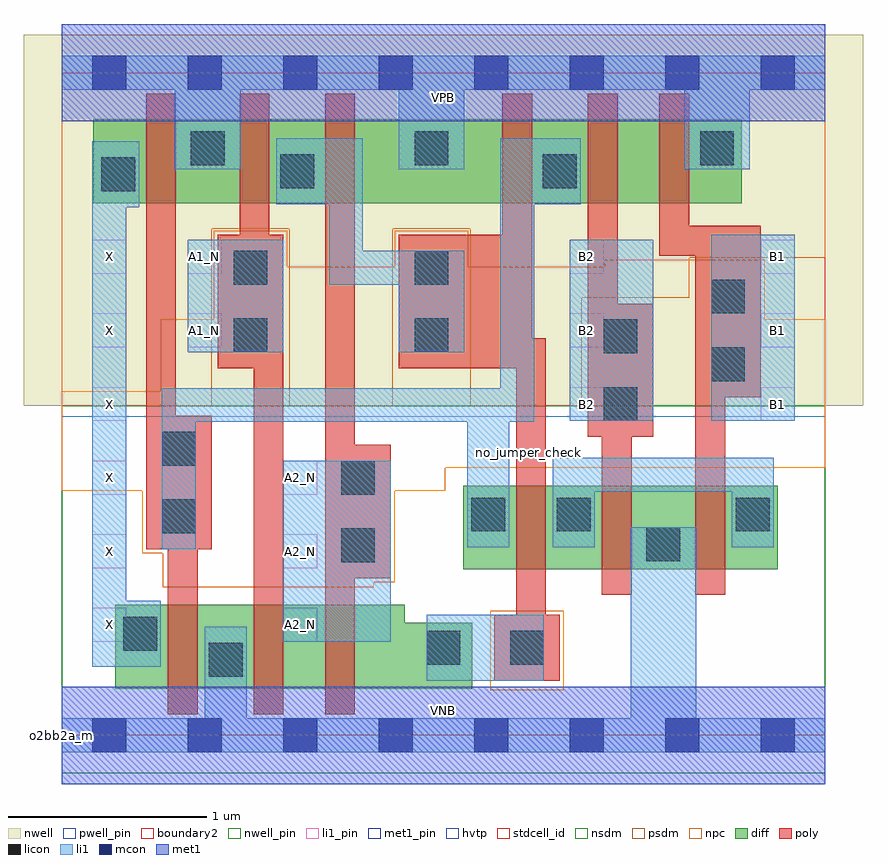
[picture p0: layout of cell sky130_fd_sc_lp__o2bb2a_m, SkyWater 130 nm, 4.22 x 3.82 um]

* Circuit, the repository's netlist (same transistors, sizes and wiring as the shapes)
* Copyright 2020 The SkyWater PDK Authors
*
* Licensed under the Apache License, Version 2.0 (the "License");
* you may not use this file except in compliance with the License.
* You may obtain a copy of the License at
*
*     https://www.apache.org/licenses/LICENSE-2.0
*
* Unless required by applicable law or agreed to in writing, software
* distributed under the License is distributed on an "AS IS" BASIS,
* WITHOUT WARRANTIES OR CONDITIONS OF ANY KIND, either express or implied.
* See the License for the specific language governing permissions and
* limitations under the License.
*
* SPDX-License-Identifier: Apache-2.0

.SUBCKT sky130_fd_sc_lp__o2bb2a_m A1_N A2_N B1 B2 VGND VNB VPB VPWR X
*.PININFO A1_N:I A2_N:I B1:I B2:I VGND:I VNB:I VPB:I VPWR:I X:O
MMIN2 X y VGND VNB sky130_fd_pr__nfet_01v8 m=1 w=0.42U l=0.15U mult=1 sa=0.265
+ sb=0.265 sd=0.28 area=0.063 perim=1.14
MMNnand0 VGND A1_N sndNA1N VNB sky130_fd_pr__nfet_01v8 m=1 w=0.42U l=0.15U mult=1
+ sa=0.265 sb=0.265 sd=0.28 area=0.063 perim=1.14
MMNnand1 sndNA1N A2_N inand VNB sky130_fd_pr__nfet_01v8 m=1 w=0.42U l=0.15U mult=1
+ sa=0.265 sb=0.265 sd=0.28 area=0.063 perim=1.14
MMNaoi10 nmid B1 VGND VNB sky130_fd_pr__nfet_01v8 m=1 w=0.42U l=0.15U mult=1 sa=0.265
+ sb=0.265 sd=0.28 area=0.063 perim=1.14
MMNaoi11 nmid B2 VGND VNB sky130_fd_pr__nfet_01v8 m=1 w=0.42U l=0.15U mult=1 sa=0.265
+ sb=0.265 sd=0.28 area=0.063 perim=1.14
MMNaoi20 y inand nmid VNB sky130_fd_pr__nfet_01v8 m=1 w=0.42U l=0.15U mult=1 sa=0.265
+ sb=0.265 sd=0.28 area=0.063 perim=1.14
MMIP2 X y VPWR VPB sky130_fd_pr__pfet_01v8_hvt m=1 w=0.42U l=0.15U mult=1 sa=0.265
+ sb=0.265 sd=0.28 area=0.063 perim=1.14
MMPnand0 inand A1_N VPWR VPB sky130_fd_pr__pfet_01v8_hvt m=1 w=0.42U l=0.15U mult=1
+ sa=0.265 sb=0.265 sd=0.28 area=0.063 perim=1.14
MMPnand1 inand A2_N VPWR VPB sky130_fd_pr__pfet_01v8_hvt m=1 w=0.42U l=0.15U mult=1
+ sa=0.265 sb=0.265 sd=0.28 area=0.063 perim=1.14
MMPaoi10 VPWR B1 sndPB1 VPB sky130_fd_pr__pfet_01v8_hvt m=1 w=0.42U l=0.15U mult=1
+ sa=0.265 sb=0.265 sd=0.28 area=0.063 perim=1.14
MMPaoi11 sndPB1 B2 y VPB sky130_fd_pr__pfet_01v8_hvt m=1 w=0.42U l=0.15U mult=1
+ sa=0.265 sb=0.265 sd=0.28 area=0.063 perim=1.14
MMPaoi20 y inand VPWR VPB sky130_fd_pr__pfet_01v8_hvt m=1 w=0.42U l=0.15U mult=1
+ sa=0.265 sb=0.265 sd=0.28 area=0.063 perim=1.14
.ENDS sky130_fd_sc_lp__o2bb2a_m

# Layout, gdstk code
import gdstk
lib = gdstk.Library(unit=1e-6, precision=1e-09)
def R(c, l, rs):  # rectangles x0, y0, x1, y1
    for r in rs: c.add(gdstk.rectangle(r[:2], r[2:], *l))
def A(c, l, x, y, w, h, nx, ny, dx, dy):  # array of equal rectangles
    R(c, l, [(x+i*dx, y+j*dy, x+i*dx+w, y+j*dy+h) for i in range(nx) for j in range(ny)])
def P(c, l, *ps):  # polygons
    for p in ps: c.add(gdstk.Polygon(p, *l))
nwell_pin = (64, 16)
nwell = (64, 20)
diff = (65, 20)
poly = (66, 20)
licon = (66, 44)
li1_pin = (67, 16)
li1 = (67, 20)
mcon = (67, 44)
met1_pin = (68, 16)
met1 = (68, 20)
hvtp = (78, 44)
stdcell_id = (81, 4)
nsdm = (93, 44)
psdm = (94, 20)
npc = (95, 20)
pwell_pin = (122, 16)
boundary2 = (236, 0)

sky130_fd_sc_lp__o2bb2a_ = lib.new_cell('sky130_fd_sc_lp__o2bb2a_m')
R(sky130_fd_sc_lp__o2bb2a_, nwell_pin, [(0,3.085,3.84,3.33)])
R(sky130_fd_sc_lp__o2bb2a_, nwell, [(-0.19,1.655,4.03,3.52)])
R(sky130_fd_sc_lp__o2bb2a_, diff, [(2.02,0.835,3.6,1.255), (0.16,2.675,3.42,3.095)])
P(sky130_fd_sc_lp__o2bb2a_, diff, [(2.065,0.565),(1.725,0.565),(1.725,0.655),(0.27,0.655),(0.27,0.235),(2.065,0.235)])
P(sky130_fd_sc_lp__o2bb2a_, poly, [(0.755,1.605),(0.575,1.605),(0.575,3.225),(0.425,3.225),(0.425,0.935),(0.535,0.935),(0.535,0.105),(0.685,0.105),(0.685,0.935),(0.755,0.935)],
  [(1.115,2.515),(1.045,2.515),(1.045,3.225),(0.895,3.225),(0.895,2.515),(0.785,2.515),(0.785,1.845),(0.965,1.845),(0.965,0.105),(1.115,0.105)],
  [(1.655,1.46),(1.475,1.46),(1.475,3.225),(1.325,3.225),(1.325,0.105),(1.475,0.105),(1.475,0.79),(1.655,0.79)],
  [(2.505,0.605),(2.435,0.605),(2.435,1.995),(2.365,1.995),(2.365,3.225),(2.215,3.225),(2.215,2.515),(1.695,2.515),(1.695,1.845),(2.285,1.845),(2.285,0.605),(2.175,0.605),(2.175,0.275),(2.505,0.275)],
  [(2.975,2.17),(2.795,2.17),(2.795,3.225),(2.645,3.225),(2.645,1.5),(2.715,1.5),(2.715,0.705),(2.865,0.705),(2.865,1.5),(2.975,1.5)],
  [(3.515,2.56),(3.155,2.56),(3.155,3.225),(3.005,3.225),(3.005,2.41),(3.185,2.41),(3.185,0.705),(3.335,0.705),(3.335,1.7),(3.515,1.7)])
R(sky130_fd_sc_lp__o2bb2a_, licon, [(0.74,0.295,0.91,0.465), (1.835,0.355,2.005,0.525), (2.255,0.355,2.425,0.525), (0.31,0.425,0.48,0.595), (1.405,0.87,1.575,1.04), (2.94,0.875,3.11,1.045), (0.505,1.015,0.675,1.185), (2.06,1.025,2.23,1.195), (2.49,1.025,2.66,1.195), (3.39,1.025,3.56,1.195), (1.405,1.21,1.575,1.38), (0.505,1.355,0.675,1.525), (2.725,1.58,2.895,1.75), (3.265,1.78,3.435,1.95), (2.725,1.92,2.895,2.09), (0.865,1.925,1.035,2.095), (1.775,1.925,1.945,2.095), (3.265,2.12,3.435,2.29), (0.865,2.265,1.035,2.435), (1.775,2.265,1.945,2.435), (0.2,2.735,0.37,2.905), (1.1,2.75,1.27,2.92), (2.42,2.75,2.59,2.92), (0.65,2.865,0.82,3.035), (1.775,2.865,1.945,3.035), (3.21,2.865,3.38,3.035)])
A(sky130_fd_sc_lp__o2bb2a_, li1_pin, 0.155, 0.47, 0.17, 0.17, 1, 6, 0, 0.37)
A(sky130_fd_sc_lp__o2bb2a_, li1_pin, 1.115, 0.47, 0.17, 0.17, 1, 3, 0, 0.37)
A(sky130_fd_sc_lp__o2bb2a_, li1_pin, 2.555, 1.58, 0.17, 0.17, 1, 3, 0, 0.37)
A(sky130_fd_sc_lp__o2bb2a_, li1_pin, 3.515, 1.58, 0.17, 0.17, 1, 3, 0, 0.37)
R(sky130_fd_sc_lp__o2bb2a_, li1_pin, [(0.635,1.95,0.805,2.12), (0.635,2.32,0.805,2.49)])
R(sky130_fd_sc_lp__o2bb2a_, li1, [(1.835,0.275,2.425,0.605), (1.115,0.47,1.655,1.38), (2.555,1.58,2.975,2.49), (3.265,1.58,3.685,2.515), (0.635,1.925,1.115,2.49)])
P(sky130_fd_sc_lp__o2bb2a_, li1, [(3.13,2.845),(3.13,3.245),(2.025,3.245),(2.025,2.845),(1.695,2.845),(1.695,3.245),(0.9,3.245),(0.9,2.845),(0.57,2.845),(0.57,3.245),(0,3.245),(0,3.415),(3.84,3.415),(3.84,3.245),(3.46,3.245),(3.46,2.845)],
  [(2.86,0.085),(2.86,1.045),(3.19,1.045),(3.19,0.085),(3.84,0.085),(3.84,-0.085),(0,-0.085),(0,0.085),(0.72,0.085),(0.72,0.545),(0.93,0.545),(0.93,0.085)],
  [(0.505,0.935),(0.505,1.745),(2.205,1.745),(2.205,3),(2.61,3),(2.61,2.67),(2.375,2.67),(2.375,1.575),(2.25,1.575),(2.25,0.945),(2.04,0.945),(2.04,1.575),(0.675,1.575),(0.675,0.935)],
  [(1.08,2.67),(1.08,3),(1.515,3),(1.515,2.435),(2.025,2.435),(2.025,1.925),(1.695,1.925),(1.695,2.265),(1.345,2.265),(1.345,2.67)],
  [(0.325,2.655),(0.325,0.675),(0.5,0.675),(0.5,0.345),(0.155,0.345),(0.155,2.985),(0.39,2.985),(0.39,2.655)],
  [(3.37,1.225),(2.68,1.225),(2.68,0.945),(2.47,0.945),(2.47,1.395),(3.58,1.395),(3.58,0.945),(3.37,0.945)])
A(sky130_fd_sc_lp__o2bb2a_, mcon, 0.155, -0.085, 0.17, 0.17, 8, 2, 0.48, 3.33)
R(sky130_fd_sc_lp__o2bb2a_, met1_pin, [(0,0,3.84,0.245), (0,3.085,3.84,3.33)])
R(sky130_fd_sc_lp__o2bb2a_, met1, [(0,-0.245,3.84,0.245), (0,3.085,3.84,3.575)])
R(sky130_fd_sc_lp__o2bb2a_, hvtp, [(0,1.6,3.84,3.33)])
R(sky130_fd_sc_lp__o2bb2a_, stdcell_id, [(0,0,3.84,3.33)])
R(sky130_fd_sc_lp__o2bb2a_, nsdm, [(0,-0.19,3.84,1.655)])
P(sky130_fd_sc_lp__o2bb2a_, psdm, [(3.84,3.52),(0,3.52),(0,1.655),(0.755,1.655),(0.755,2.545),(1.145,2.545),(1.145,1.655),(1.665,1.655),(1.665,2.545),(2.055,2.545),(2.055,1.655),(2.615,1.655),(2.615,2.2),(3.155,2.2),(3.155,2.4),(3.84,2.4)])
R(sky130_fd_sc_lp__o2bb2a_, npc, [(2.155,0.225,2.525,0.625)])
P(sky130_fd_sc_lp__o2bb2a_, npc, [(3.84,2.09),(3.535,2.09),(3.535,2.39),(2.73,2.39),(2.73,2.355),(2.045,2.355),(2.045,2.535),(1.675,2.535),(1.675,2.355),(1.135,2.355),(1.135,2.535),(0.765,2.535),(0.765,2.09),(0.5,2.09),(0.5,1.73),(0,1.73),(0,1.23),(0.405,1.23),(0.405,0.915),(0.51,0.915),(0.51,0.745),(1.57,0.745),(1.57,0.77),(1.675,0.77),(1.675,1.23),(1.93,1.23),(1.93,1.345),(3.84,1.345)])
R(sky130_fd_sc_lp__o2bb2a_, pwell_pin, [(0,0,3.84,0.245)])
R(sky130_fd_sc_lp__o2bb2a_, boundary2, [(0,0,3.84,3.33)])
sky130_fd_sc_lp__o2bb2a_.add(gdstk.Label('VNB', (1.92,0.123), layer=64, texttype=59))
sky130_fd_sc_lp__o2bb2a_.add(gdstk.Label('VPB', (1.92,3.208), layer=64, texttype=5))
sky130_fd_sc_lp__o2bb2a_.add(gdstk.Label('o2bb2a_m', (0,0), layer=83, texttype=44))
sky130_fd_sc_lp__o2bb2a_.add(gdstk.Label('no_jumper_check', (2.345,1.42), layer=83, texttype=44))
sky130_fd_sc_lp__o2bb2a_.add(gdstk.Label('VPWR', (1.92,3.208), layer=68, texttype=5))
sky130_fd_sc_lp__o2bb2a_.add(gdstk.Label('VGND', (1.92,0.123), layer=68, texttype=5))
sky130_fd_sc_lp__o2bb2a_.add(gdstk.Label('A1_N', (0.72,2.035), layer=67, texttype=5))
sky130_fd_sc_lp__o2bb2a_.add(gdstk.Label('A1_N', (0.72,2.405), layer=67, texttype=5))
sky130_fd_sc_lp__o2bb2a_.add(gdstk.Label('B1', (3.6,1.665), layer=67, texttype=5))
sky130_fd_sc_lp__o2bb2a_.add(gdstk.Label('B1', (3.6,2.035), layer=67, texttype=5))
sky130_fd_sc_lp__o2bb2a_.add(gdstk.Label('B1', (3.6,2.405), layer=67, texttype=5))
sky130_fd_sc_lp__o2bb2a_.add(gdstk.Label('B2', (2.64,1.665), layer=67, texttype=5))
sky130_fd_sc_lp__o2bb2a_.add(gdstk.Label('B2', (2.64,2.035), layer=67, texttype=5))
sky130_fd_sc_lp__o2bb2a_.add(gdstk.Label('B2', (2.64,2.405), layer=67, texttype=5))
sky130_fd_sc_lp__o2bb2a_.add(gdstk.Label('X', (0.24,0.555), layer=67, texttype=5))
sky130_fd_sc_lp__o2bb2a_.add(gdstk.Label('X', (0.24,0.925), layer=67, texttype=5))
sky130_fd_sc_lp__o2bb2a_.add(gdstk.Label('X', (0.24,1.295), layer=67, texttype=5))
sky130_fd_sc_lp__o2bb2a_.add(gdstk.Label('X', (0.24,1.665), layer=67, texttype=5))
sky130_fd_sc_lp__o2bb2a_.add(gdstk.Label('X', (0.24,2.035), layer=67, texttype=5))
sky130_fd_sc_lp__o2bb2a_.add(gdstk.Label('X', (0.24,2.405), layer=67, texttype=5))
sky130_fd_sc_lp__o2bb2a_.add(gdstk.Label('A2_N', (1.2,0.555), layer=67, texttype=5))
sky130_fd_sc_lp__o2bb2a_.add(gdstk.Label('A2_N', (1.2,0.925), layer=67, texttype=5))
sky130_fd_sc_lp__o2bb2a_.add(gdstk.Label('A2_N', (1.2,1.295), layer=67, texttype=5))

lib.write_gds('sky130_fd_sc_lp__o2bb2a_m.gds')
